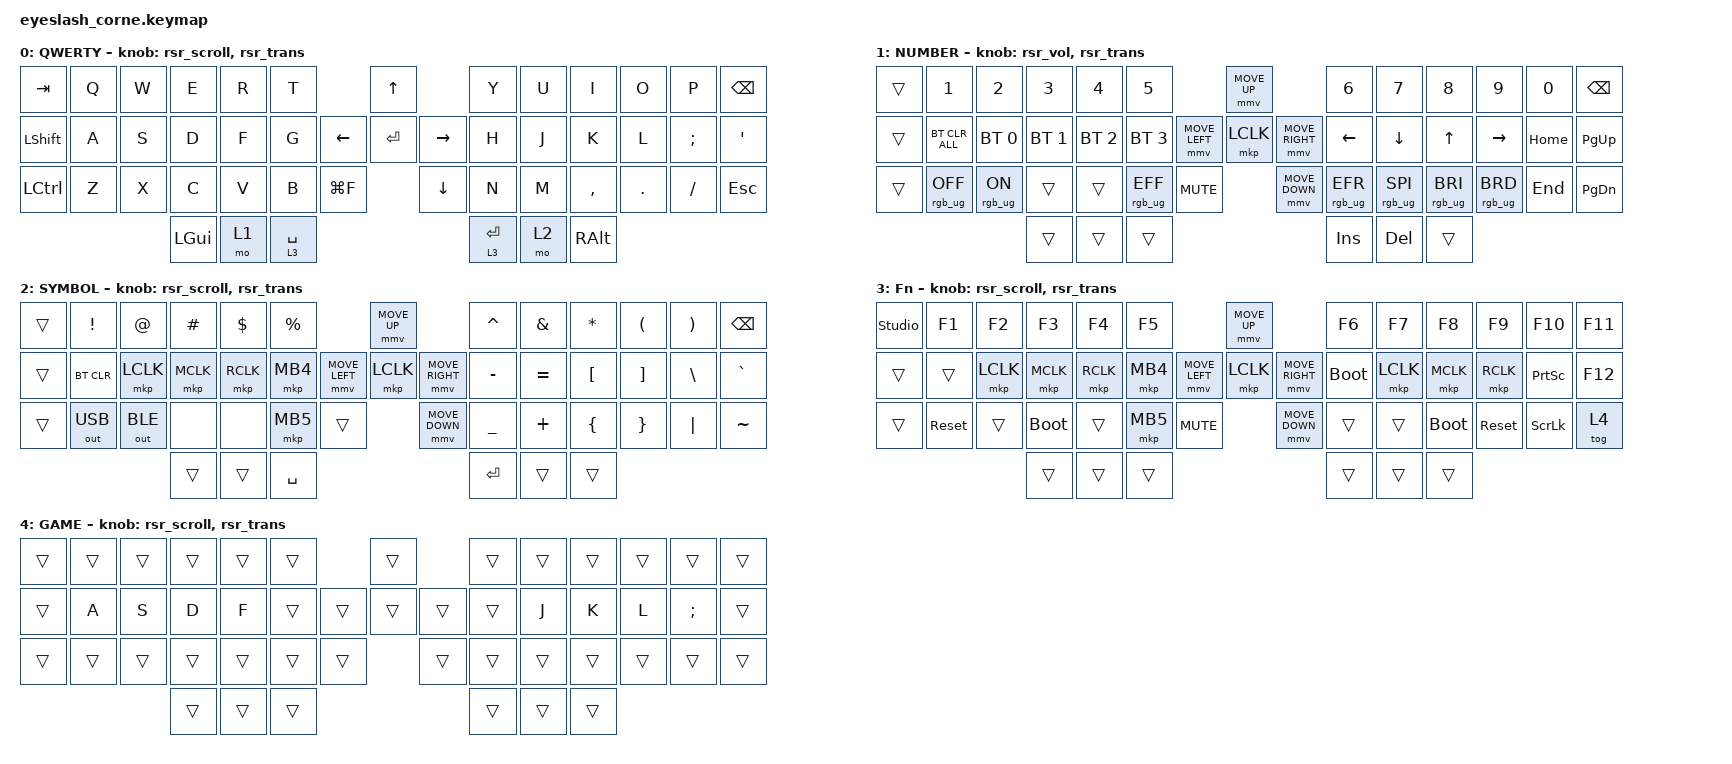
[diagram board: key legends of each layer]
#define ZMK_POINTING_DEFAULT_MOVE_VAL 1200  // 600
#define ZMK_POINTING_DEFAULT_SCRL_VAL 25   // 10

#include <input/processors.dtsi>
#include <zephyr/dt-bindings/input/input-event-codes.h>
#include <behaviors.dtsi>
#include <dt-bindings/zmk/bt.h>
#include <dt-bindings/zmk/ext_power.h>
#include <dt-bindings/zmk/keys.h>
#include <dt-bindings/zmk/modifiers.h>
#include <dt-bindings/zmk/pointing.h>
#include <dt-bindings/zmk/outputs.h>
#include <dt-bindings/zmk/rgb.h>
#include <behaviors/runtime-sensor-rotate.dtsi>

&mmv_input_listener { input-processors = <&zip_xy_scaler 2 1>; };

&msc_input_listener { input-processors = <&zip_scroll_scaler 2 1>; };

&msc {
    acceleration-exponent = <1>;      // 0
    time-to-max-speed-ms = <100>;       // 300
    delay-ms = <0>;                   // 0
};

&mmv {
    time-to-max-speed-ms = <500>;
    acceleration-exponent = <1>;
    trigger-period-ms = <16>;
};


/ {
    behaviors {
        rsr_vol: rsr_vol {
            compatible = "zmk,behavior-runtime-sensor-rotate";
            #sensor-binding-cells = <0>;
            tap-ms = <5>;
            cw-binding = <&kp C_VOL_UP>;
            ccw-binding = <&kp C_VOL_DN>;
        };

        rsr_scroll: rsr_scroll {
            compatible = "zmk,behavior-runtime-sensor-rotate";
            #sensor-binding-cells = <0>;
            // Mouse scroll is emitted on a periodic tick; keep the virtual
            // binding active long enough for at least one tick to run.
            tap-ms = <100>;
            cw-binding = <&msc SCRL_DOWN>;
            ccw-binding = <&msc SCRL_UP>;
        };

        rsr_trans: rsr_trans {
            compatible = "zmk,behavior-runtime-sensor-rotate";
            #sensor-binding-cells = <0>;
            tap-ms = <0>;
        };
    };

    rgb_encoder: rgb_encoder {
        compatible = "zmk,behavior-sensor-rotate";
        #sensor-binding-cells = <0>;
        bindings = <&rgb_ug RGB_BRI>, <&rgb_ug RGB_BRD>;
    };

    scroll_encoder: scroll_encoder {
        compatible = "zmk,behavior-sensor-rotate";
        #sensor-binding-cells = <0>;
        bindings = <&msc SCRL_DOWN>, <&msc SCRL_UP>;
        tap-ms = <100>;
    };

    keymap {
        compatible = "zmk,keymap";

        default_layer {
            display-name = "QWERTY";
            bindings = <
&kp TAB    &kp Q  &kp W      &kp E     &kp R  &kp T                              &kp UP                &kp Y        &kp U  &kp I      &kp O    &kp P     &kp BSPC
&kp LSHIFT     &kp A  &kp S      &kp D     &kp F  &kp G                    &kp LEFT  &kp ENTER  &kp RIGHT  &kp H        &kp J  &kp K      &kp L    &kp SEMI  &kp SQT
&kp LCTRL      &kp Z  &kp X      &kp C     &kp V  &kp B       &kp LG(F)              &kp DOWN              &kp N        &kp M  &kp COMMA  &kp DOT  &kp FSLH  &kp ESC
                             &kp LGUI  &mo 1  &lt 3 SPACE                                              &lt 3 ENTER  &mo 2  &kp RALT
            >;
            sensor-bindings = <&rsr_scroll &rsr_trans>;
        };

        lower_layer {
            display-name = "NUMBER";
            bindings = <
&trans  &kp N1           &kp N2          &kp N3        &kp N4        &kp N5                                        &mmv MOVE_UP                     &kp N6           &kp N7           &kp N8           &kp N9           &kp N0    &kp BSPC
&trans  &bt BT_CLR_ALL   &bt BT_SEL 0    &bt BT_SEL 1  &bt BT_SEL 2  &bt BT_SEL 3                           &mmv MOVE_LEFT  &mkp LCLK       &mmv MOVE_RIGHT  &kp LEFT         &kp DOWN         &kp UP           &kp RIGHT        &kp HOME  &kp PG_UP
&trans  &rgb_ug RGB_OFF  &rgb_ug RGB_ON  &trans        &trans        &rgb_ug RGB_EFF &kp C_MUTE                    &mmv MOVE_DOWN                   &rgb_ug RGB_EFR  &rgb_ug RGB_SPI  &rgb_ug RGB_BRI  &rgb_ug RGB_BRD  &kp END   &kp PG_DN
                                         &trans        &trans        &trans                                                                         &kp INS          &kp DEL          &trans
            >;
            sensor-bindings = <&rsr_vol &rsr_trans>;
        };

        raise_layer {
            display-name = "SYMBOL";
            bindings = <
&trans  &kp EXCL      &kp AT        &kp HASH   &kp DLLR   &kp PRCNT                           &mmv MOVE_UP                     &kp CARET  &kp AMPS   &kp ASTRK  &kp LPAR  &kp RPAR  &kp BSPC
&trans  &bt BT_CLR    &mkp LCLK     &mkp MCLK  &mkp RCLK  &mkp MB4            &mmv MOVE_LEFT  &mkp LCLK       &mmv MOVE_RIGHT  &kp MINUS  &kp EQUAL  &kp LBKT   &kp RBKT  &kp BSLH  &kp GRAVE
&trans  &out OUT_USB  &out OUT_BLE  &none      &none      &mkp MB5  &trans                    &mmv MOVE_DOWN                   &kp UNDER  &kp PLUS   &kp LBRC   &kp RBRC  &kp PIPE  &kp TILDE
                                    &trans     &trans     &kp SPACE                                                            &kp RET    &trans     &trans
            >;
            sensor-bindings = <&rsr_scroll &rsr_trans>;
        };

        layer_3 {
            display-name = "Fn";
            bindings = <
&studio_unlock   &kp F1      &kp F2      &kp F3       &kp F4     &kp F5                                  &mmv MOVE_UP                     &kp F6       &kp F7     &kp F8       &kp F9      &kp F10          &kp F11
&trans  &trans      &mkp LCLK   &mkp MCLK    &mkp RCLK  &mkp MB4                &mmv MOVE_LEFT  &mkp LCLK       &mmv MOVE_RIGHT  &bootloader  &mkp LCLK  &mkp MCLK    &mkp RCLK   &kp PRINTSCREEN  &kp F12
&trans  &sys_reset  &trans      &bootloader  &trans     &mkp MB5  &kp C_MUTE                    &mmv MOVE_DOWN                   &trans       &trans     &bootloader  &sys_reset  &kp SCROLLLOCK   &tog 4
                                &trans      &trans      &trans                                                                   &trans       &trans     &trans
            >;
            sensor-bindings = <&rsr_scroll &rsr_trans>;
        };

        // Toggle with Fn + the former Pause/Break key. This layer keeps the
        // home-row letters plain for games while leaving every other key alone.
        gaming_layer {
            display-name = "GAME";
            bindings = <
&trans  &trans  &trans  &trans  &trans  &trans                            &trans              &trans  &trans  &trans  &trans  &trans  &trans
&trans  &kp A   &kp S   &kp D   &kp F   &trans                    &trans  &trans  &trans  &trans  &kp J   &kp K   &kp L   &kp SEMI  &trans
&trans  &trans  &trans  &trans  &trans  &trans  &trans              &trans              &trans  &trans  &trans  &trans  &trans  &trans
                             &trans  &trans  &trans                                            &trans  &trans  &trans
            >;
            sensor-bindings = <&rsr_scroll &rsr_trans>;
        };
    };
};
